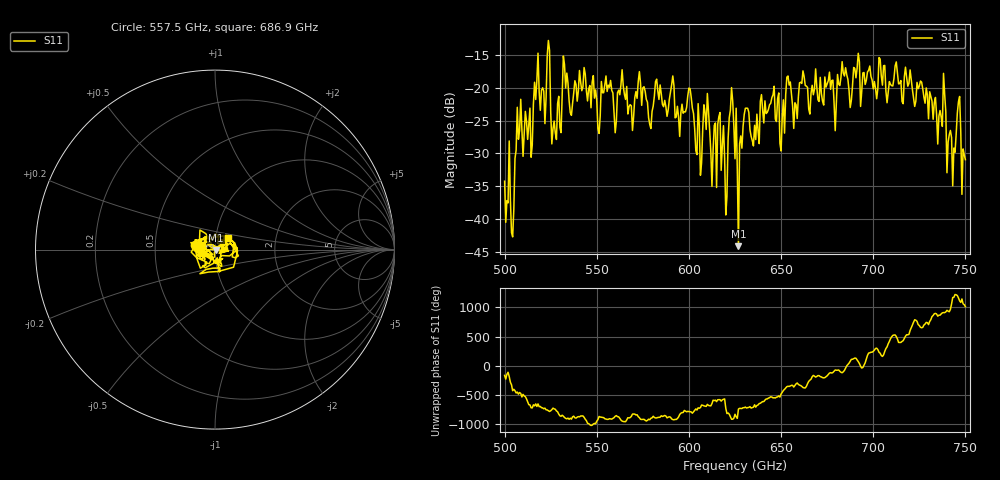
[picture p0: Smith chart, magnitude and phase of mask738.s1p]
!Created with skrf (http://scikit-rf.org).
# GHz S MA R 50.0
!freq magS11 angS11
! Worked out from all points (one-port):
!   401 points, 500 GHz to 750 GHz, reference 50 ohm
!   lowest |S11| = -44.1 dB at 626.9 GHz (marker M1), VSWR 1.01, Z = 50.6 - j0.266 ohm
!   |S11| at or under -10 dB: start of sweep to end of sweep
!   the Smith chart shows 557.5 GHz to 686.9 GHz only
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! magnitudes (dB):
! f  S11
! 500 GHz  -34.2
! 504.4 GHz  -42.7
! 507.5 GHz  -27.8
! 513.8 GHz  -23.1
! 517.5 GHz  -18.9
! 523.8 GHz  -12.8
! 526.9 GHz  -25.1
! 531.2 GHz  -20.8
! 562.5 GHz  -21.0
! 579.4 GHz  -26.2
! 590.6 GHz  -19.5
! 593.8 GHz  -22.8
! 600.6 GHz  -20.1
! 605.6 GHz  -25.7
! 609.4 GHz  -26.3
! 619.4 GHz  -30.7
! 622.5 GHz  -23.4
! 625 GHz  -30.8
! 626.9 GHz  -44.1
! 631.2 GHz  -23.1
! 635 GHz  -28.8
! 656.2 GHz  -22.7
! 687.5 GHz  -23.0
! 718.8 GHz  -19.7
! 738.1 GHz  -17.8
! 743.1 GHz  -34.9
! 746.2 GHz  -22.1
! 750 GHz  -30.9
